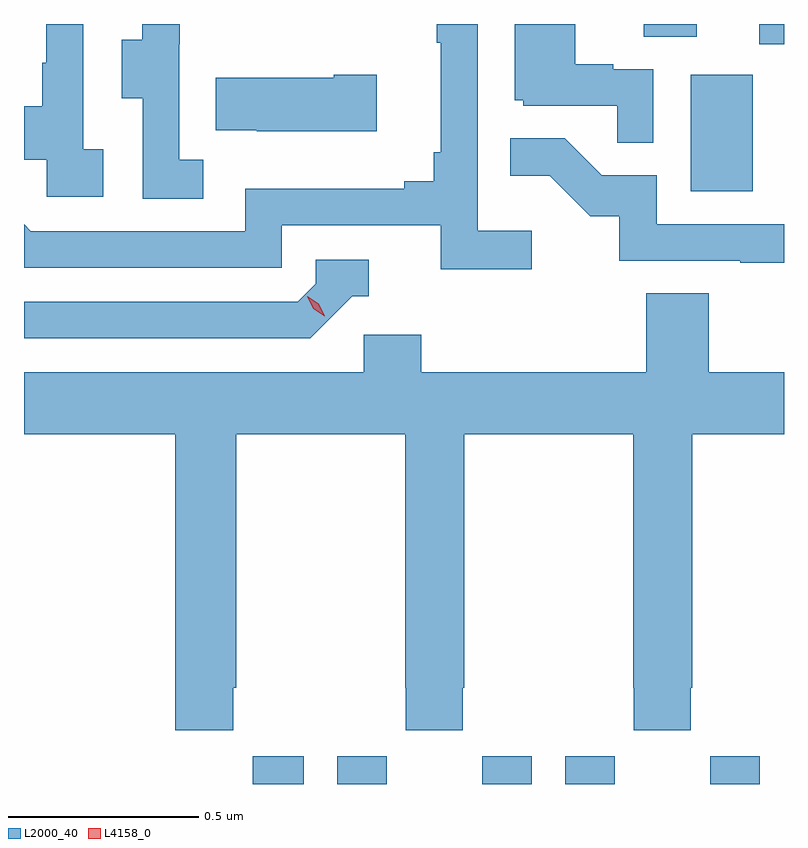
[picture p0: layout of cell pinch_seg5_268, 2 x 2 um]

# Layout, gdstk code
import gdstk
lib = gdstk.Library(unit=1e-6, precision=1e-09)
def R(c, l, rs):  # rectangles x0, y0, x1, y1
    for r in rs: c.add(gdstk.rectangle(r[:2], r[2:], *l))
def P(c, l, *ps):  # polygons
    for p in ps: c.add(gdstk.Polygon(p, *l))
L2000_40 = (2000, 40)
L4158_0 = (4158, 0)

pinch_seg5_268 = lib.new_cell('pinch_seg5_268')
R(pinch_seg5_268, L2000_40, [(897.254,913.116,897.388,913.189), (897.476,913.116,897.606,913.189), (897.858,913.116,897.988,913.189), (898.076,913.116,898.206,913.189), (898.458,913.116,898.588,913.189), (898.406,914.676,898.57,914.983), (898.587,915.063,898.652,915.116), (898.283,915.082,898.423,915.116)])
P(pinch_seg5_268, L2000_40, [(897.124,914.759),(897.06,914.759),(897.06,915.063),(897.062,915.063),(897.062,915.116),(896.963,915.116),(896.963,915.075),(896.909,915.075),(896.909,914.92),(896.964,914.92),(896.964,914.656),(897.124,914.656)],
  [(898.308,914.997),(898.202,914.997),(898.202,915.01),(898.102,915.01),(898.102,915.116),(897.944,915.116),(897.944,914.916),(897.966,914.916),(897.966,914.901),(898.213,914.901),(898.213,914.803),(898.308,914.803)],
  [(897.988,914.572),(897.846,914.572),(897.846,915.116),(897.738,915.116),(897.738,915.067),(897.749,915.067),(897.749,914.779),(897.73,914.779),(897.73,914.702),(897.653,914.702),(897.653,914.683),(897.234,914.683),(897.234,914.571),(896.67,914.571),(896.652,914.589),(896.652,914.475),(897.33,914.475),(897.33,914.586),(897.749,914.586),(897.749,914.47),(897.988,914.47)],
  [(896.86,914.786),(896.808,914.786),(896.808,915.116),(896.71,915.116),(896.71,915.014),(896.7,915.014),(896.7,914.899),(896.652,914.899),(896.652,914.759),(896.712,914.759),(896.712,914.661),(896.86,914.661)],
  [(897.58,914.982),(897.467,914.982),(897.467,914.974),(897.157,914.974),(897.157,914.837),(897.265,914.837),(897.265,914.834),(897.58,914.834)],
  [(898.652,914.589),(898.317,914.589),(898.317,914.718),(898.173,914.718),(898.075,914.816),(897.931,914.816),(897.931,914.717),(898.035,914.717),(898.142,914.61),(898.219,914.61),(898.219,914.493),(898.537,914.493),(898.537,914.488),(898.652,914.488)],
  [(897.516,914.4),(897.559,914.4),(897.559,914.496),(897.42,914.496),(897.42,914.433),(897.372,914.385),(896.652,914.385),(896.652,914.289),(897.405,914.289)],
  [(897.203,913.369),(897.21,913.369),(897.21,914.036),(897.655,914.036),(897.655,913.369),(897.657,913.369),(897.657,913.257),(897.807,913.257),(897.807,913.369),(897.81,913.369),(897.81,914.036),(898.255,914.036),(898.255,913.369),(898.257,913.369),(898.257,913.257),(898.407,913.257),(898.407,913.369),(898.41,913.369),(898.41,914.036),(898.652,914.036),(898.652,914.2),(898.454,914.2),(898.454,914.408),(898.289,914.408),(898.289,914.2),(897.698,914.2),(897.698,914.298),(897.546,914.298),(897.546,914.2),(896.652,914.2),(896.652,914.036),(897.05,914.036),(897.05,913.257),(897.203,913.257)])
P(pinch_seg5_268, L4158_0, [(897.444,914.347),(897.413,914.367),(897.397,914.4),(897.397,914.4),(897.397,914.4),(897.428,914.38),(897.444,914.348),(897.444,914.347)])

lib.write_gds('pinch_seg5_268.gds')
